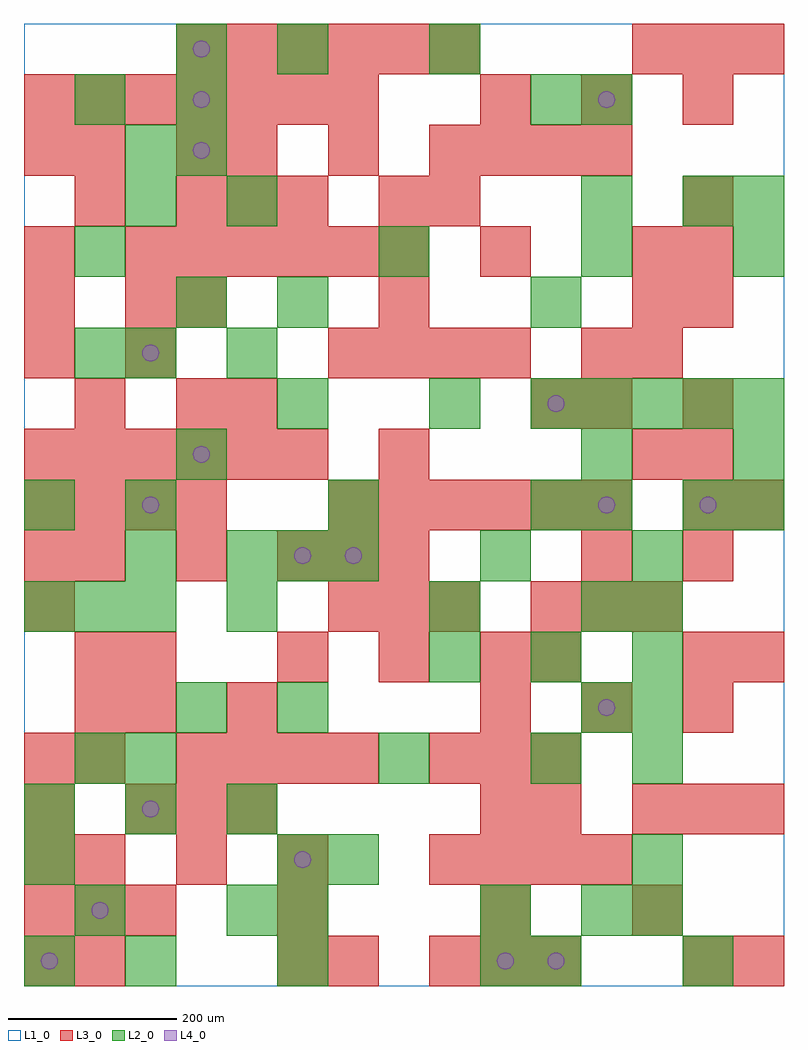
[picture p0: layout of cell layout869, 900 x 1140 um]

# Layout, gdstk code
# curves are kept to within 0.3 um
import gdstk
lib = gdstk.Library(unit=1e-6, precision=1e-09)
def R(c, l, rs):  # rectangles x0, y0, x1, y1
    for r in rs: c.add(gdstk.rectangle(r[:2], r[2:], *l))
def A(c, l, x, y, w, h, nx, ny, dx, dy):  # array of equal rectangles
    R(c, l, [(x+i*dx, y+j*dy, x+i*dx+w, y+j*dy+h) for i in range(nx) for j in range(ny)])
def P(c, l, *ps):  # polygons
    for p in ps: c.add(gdstk.Polygon(p, *l))
L1_0 = (1, 0)
L2_0 = (2, 0)
L3_0 = (3, 0)
L4_0 = (4, 0)

layout869 = lib.new_cell('layout869')
R(layout869, L1_0, [(0,0,900,1140)])
A(layout869, L2_0, 120, 0, 60, 60, 1, 4, 0, 240)
A(layout869, L2_0, 300, 0, 60, 60, 1, 3, 0, 60)
A(layout869, L2_0, 0, 180, 60, 60, 3, 1, 120, 0)
A(layout869, L2_0, 660, 300, 60, 60, 1, 3, 0, 120)
A(layout869, L2_0, 480, 360, 60, 60, 3, 1, 120, 0)
A(layout869, L2_0, 0, 420, 60, 60, 3, 1, 60, 0)
A(layout869, L2_0, 240, 480, 60, 60, 3, 1, 60, 0)
A(layout869, L2_0, 120, 540, 60, 60, 3, 1, 240, 0)
A(layout869, L2_0, 180, 600, 60, 60, 1, 3, 0, 180)
A(layout869, L2_0, 600, 660, 60, 60, 5, 1, 60, 0)
R(layout869, L2_0, [(0,0,60,60), (540,0,600,60), (600,0,660,60), (780,0,840,60), (60,60,120,120), (240,60,300,120), (540,60,600,120), (660,60,720,120), (720,60,780,120), (0,120,60,180), (360,120,420,180), (720,120,780,180), (60,240,120,300), (420,240,480,300), (600,240,660,300), (720,240,780,300), (180,300,240,360), (300,300,360,360), (720,300,780,360), (240,420,300,480), (480,420,540,480), (720,420,780,480), (540,480,600,540), (720,480,780,540), (0,540,60,600), (780,540,840,600), (840,540,900,600), (660,600,720,660), (840,600,900,660), (300,660,360,720), (480,660,540,720), (60,720,120,780), (240,720,300,780), (300,780,360,840), (600,780,660,840), (60,840,120,900), (420,840,480,900), (660,840,720,900), (840,840,900,900), (120,900,180,960), (240,900,300,960), (660,900,720,960), (780,900,840,960), (840,900,900,960), (120,960,180,1020), (60,1020,120,1080), (180,1020,240,1080), (600,1020,660,1080), (660,1020,720,1080), (180,1080,240,1140), (300,1080,360,1140), (480,1080,540,1140)])
A(layout869, L3_0, 480, 0, 60, 60, 3, 2, 60, 240)
A(layout869, L3_0, 0, 60, 60, 60, 3, 1, 60, 0)
A(layout869, L3_0, 0, 120, 60, 60, 1, 3, 0, 60)
A(layout869, L3_0, 60, 120, 60, 60, 3, 2, 120, 360)
A(layout869, L3_0, 480, 120, 60, 60, 4, 1, 60, 0)
A(layout869, L3_0, 120, 180, 60, 60, 3, 1, 60, 0)
A(layout869, L3_0, 720, 180, 60, 60, 3, 2, 60, 900)
A(layout869, L3_0, 60, 240, 60, 60, 1, 3, 0, 60)
A(layout869, L3_0, 180, 240, 60, 60, 4, 1, 60, 0)
A(layout869, L3_0, 540, 300, 60, 60, 3, 2, 120, 720)
A(layout869, L3_0, 300, 360, 60, 60, 3, 1, 120, 0)
A(layout869, L3_0, 360, 420, 60, 60, 3, 1, 60, 0)
A(layout869, L3_0, 600, 420, 60, 60, 3, 1, 60, 0)
A(layout869, L3_0, 780, 480, 60, 60, 1, 4, 0, 60)
A(layout869, L3_0, 0, 540, 60, 60, 4, 1, 60, 0)
A(layout869, L3_0, 360, 540, 60, 60, 6, 1, 60, 0)
A(layout869, L3_0, 0, 600, 60, 60, 6, 1, 60, 0)
A(layout869, L3_0, 0, 720, 60, 60, 1, 3, 0, 60)
A(layout869, L3_0, 360, 720, 60, 60, 4, 1, 60, 0)
A(layout869, L3_0, 720, 720, 60, 60, 1, 3, 0, 60)
A(layout869, L3_0, 780, 780, 60, 60, 1, 3, 0, 60)
A(layout869, L3_0, 120, 840, 60, 60, 6, 1, 60, 0)
A(layout869, L3_0, 180, 900, 60, 60, 3, 1, 60, 0)
A(layout869, L3_0, 240, 960, 60, 60, 3, 1, 120, 0)
A(layout869, L3_0, 540, 960, 60, 60, 3, 1, 60, 0)
A(layout869, L3_0, 0, 1020, 60, 60, 7, 1, 60, 0)
A(layout869, L3_0, 180, 1080, 60, 60, 6, 1, 60, 0)
R(layout869, L3_0, [(0,0,60,60), (60,0,120,60), (300,0,360,60), (360,0,420,60), (780,0,840,60), (840,0,900,60), (300,60,360,120), (540,60,600,120), (720,60,780,120), (540,180,600,240), (600,180,660,240), (120,300,180,360), (240,300,300,360), (120,360,180,420), (600,360,660,420), (780,360,840,420), (840,360,900,420), (0,420,60,480), (0,480,60,540), (360,480,420,540), (420,480,480,540), (660,480,720,540), (840,540,900,600), (420,600,480,660), (720,600,780,660), (60,660,120,720), (180,660,240,720), (240,660,300,720), (600,660,660,720), (660,660,720,720), (120,720,180,780), (660,720,720,780), (120,780,180,840), (180,780,240,840), (420,780,480,840), (540,840,600,900), (60,900,120,960), (420,900,480,960), (480,900,540,960), (0,960,60,1020), (60,960,120,1020), (180,960,240,1020)])
P(layout869, L4_0, [(40,30),(39.239,33.827),(37.071,37.071),(33.827,39.239),(30,40),(26.173,39.239),(22.929,37.071),(20.761,33.827),(20,30),(20.761,26.173),(22.929,22.929),(26.173,20.761),(30,20),(33.827,20.761),(37.071,22.929),(39.239,26.173)],
  [(100,90),(99.239,93.827),(97.071,97.071),(93.827,99.239),(90,100),(86.173,99.239),(82.929,97.071),(80.761,93.827),(80,90),(80.761,86.173),(82.929,82.929),(86.173,80.761),(90,80),(93.827,80.761),(97.071,82.929),(99.239,86.173)],
  [(160,210),(159.239,213.827),(157.071,217.071),(153.827,219.239),(150,220),(146.173,219.239),(142.929,217.071),(140.761,213.827),(140,210),(140.761,206.173),(142.929,202.929),(146.173,200.761),(150,200),(153.827,200.761),(157.071,202.929),(159.239,206.173)],
  [(160,570),(159.239,573.827),(157.071,577.071),(153.827,579.239),(150,580),(146.173,579.239),(142.929,577.071),(140.761,573.827),(140,570),(140.761,566.173),(142.929,562.929),(146.173,560.761),(150,560),(153.827,560.761),(157.071,562.929),(159.239,566.173)],
  [(160,750),(159.239,753.827),(157.071,757.071),(153.827,759.239),(150,760),(146.173,759.239),(142.929,757.071),(140.761,753.827),(140,750),(140.761,746.173),(142.929,742.929),(146.173,740.761),(150,740),(153.827,740.761),(157.071,742.929),(159.239,746.173)],
  [(220,630),(219.239,633.827),(217.071,637.071),(213.827,639.239),(210,640),(206.173,639.239),(202.929,637.071),(200.761,633.827),(200,630),(200.761,626.173),(202.929,622.929),(206.173,620.761),(210,620),(213.827,620.761),(217.071,622.929),(219.239,626.173)],
  [(220,990),(219.239,993.827),(217.071,997.071),(213.827,999.239),(210,1000),(206.173,999.239),(202.929,997.071),(200.761,993.827),(200,990),(200.761,986.173),(202.929,982.929),(206.173,980.761),(210,980),(213.827,980.761),(217.071,982.929),(219.239,986.173)],
  [(220,1050),(219.239,1053.827),(217.071,1057.071),(213.827,1059.239),(210,1060),(206.173,1059.239),(202.929,1057.071),(200.761,1053.827),(200,1050),(200.761,1046.173),(202.929,1042.929),(206.173,1040.761),(210,1040),(213.827,1040.761),(217.071,1042.929),(219.239,1046.173)],
  [(220,1110),(219.239,1113.827),(217.071,1117.071),(213.827,1119.239),(210,1120),(206.173,1119.239),(202.929,1117.071),(200.761,1113.827),(200,1110),(200.761,1106.173),(202.929,1102.929),(206.173,1100.761),(210,1100),(213.827,1100.761),(217.071,1102.929),(219.239,1106.173)],
  [(340,150),(339.239,153.827),(337.071,157.071),(333.827,159.239),(330,160),(326.173,159.239),(322.929,157.071),(320.761,153.827),(320,150),(320.761,146.173),(322.929,142.929),(326.173,140.761),(330,140),(333.827,140.761),(337.071,142.929),(339.239,146.173)],
  [(340,510),(339.239,513.827),(337.071,517.071),(333.827,519.239),(330,520),(326.173,519.239),(322.929,517.071),(320.761,513.827),(320,510),(320.761,506.173),(322.929,502.929),(326.173,500.761),(330,500),(333.827,500.761),(337.071,502.929),(339.239,506.173)],
  [(400,510),(399.239,513.827),(397.071,517.071),(393.827,519.239),(390,520),(386.173,519.239),(382.929,517.071),(380.761,513.827),(380,510),(380.761,506.173),(382.929,502.929),(386.173,500.761),(390,500),(393.827,500.761),(397.071,502.929),(399.239,506.173)],
  [(580,30),(579.239,33.827),(577.071,37.071),(573.827,39.239),(570,40),(566.173,39.239),(562.929,37.071),(560.761,33.827),(560,30),(560.761,26.173),(562.929,22.929),(566.173,20.761),(570,20),(573.827,20.761),(577.071,22.929),(579.239,26.173)],
  [(640,30),(639.239,33.827),(637.071,37.071),(633.827,39.239),(630,40),(626.173,39.239),(622.929,37.071),(620.761,33.827),(620,30),(620.761,26.173),(622.929,22.929),(626.173,20.761),(630,20),(633.827,20.761),(637.071,22.929),(639.239,26.173)],
  [(640,690),(639.239,693.827),(637.071,697.071),(633.827,699.239),(630,700),(626.173,699.239),(622.929,697.071),(620.761,693.827),(620,690),(620.761,686.173),(622.929,682.929),(626.173,680.761),(630,680),(633.827,680.761),(637.071,682.929),(639.239,686.173)],
  [(700,330),(699.239,333.827),(697.071,337.071),(693.827,339.239),(690,340),(686.173,339.239),(682.929,337.071),(680.761,333.827),(680,330),(680.761,326.173),(682.929,322.929),(686.173,320.761),(690,320),(693.827,320.761),(697.071,322.929),(699.239,326.173)],
  [(700,570),(699.239,573.827),(697.071,577.071),(693.827,579.239),(690,580),(686.173,579.239),(682.929,577.071),(680.761,573.827),(680,570),(680.761,566.173),(682.929,562.929),(686.173,560.761),(690,560),(693.827,560.761),(697.071,562.929),(699.239,566.173)],
  [(700,1050),(699.239,1053.827),(697.071,1057.071),(693.827,1059.239),(690,1060),(686.173,1059.239),(682.929,1057.071),(680.761,1053.827),(680,1050),(680.761,1046.173),(682.929,1042.929),(686.173,1040.761),(690,1040),(693.827,1040.761),(697.071,1042.929),(699.239,1046.173)],
  [(820,570),(819.239,573.827),(817.071,577.071),(813.827,579.239),(810,580),(806.173,579.239),(802.929,577.071),(800.761,573.827),(800,570),(800.761,566.173),(802.929,562.929),(806.173,560.761),(810,560),(813.827,560.761),(817.071,562.929),(819.239,566.173)])

lib.write_gds('layout869.gds')
